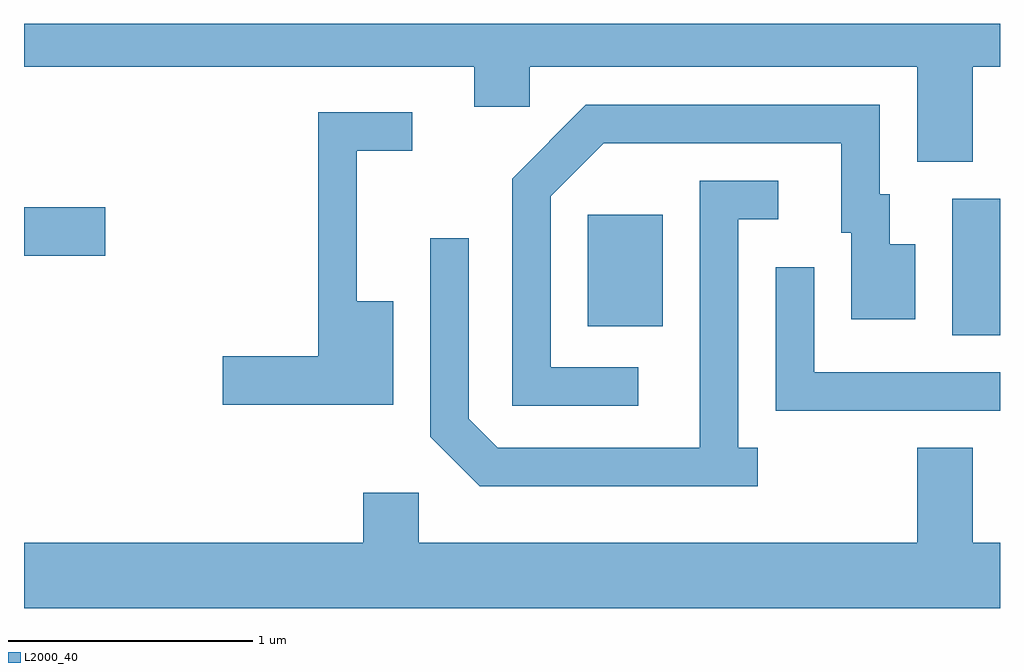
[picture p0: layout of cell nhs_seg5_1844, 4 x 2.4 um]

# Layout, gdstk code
import gdstk
lib = gdstk.Library(unit=1e-6, precision=1e-09)
def R(c, l, rs):  # rectangles x0, y0, x1, y1
    for r in rs: c.add(gdstk.rectangle(r[:2], r[2:], *l))
def P(c, l, *ps):  # polygons
    for p in ps: c.add(gdstk.Polygon(p, *l))
L2000_40 = (2000, 40)

nhs_seg5_1844 = lib.new_cell('nhs_seg5_1844')
R(nhs_seg5_1844, L2000_40, [(243.416,1466.796,243.611,1467.354), (241.921,1466.831,242.229,1467.289), (239.611,1467.121,239.944,1467.319)])
P(nhs_seg5_1844, L2000_40, [(243.499,1467.896),(243.611,1467.896),(243.611,1468.072),(239.611,1468.072),(239.611,1467.896),(241.456,1467.896),(241.456,1467.731),(241.684,1467.731),(241.684,1467.896),(243.271,1467.896),(243.271,1467.506),(243.499,1467.506)],
  [(242.128,1466.664),(241.769,1466.664),(241.769,1467.364),(241.987,1467.581),(242.961,1467.581),(242.961,1467.216),(243.001,1467.216),(243.001,1466.861),(243.264,1466.861),(243.264,1467.169),(243.159,1467.169),(243.159,1467.374),(243.119,1467.374),(243.119,1467.739),(241.914,1467.739),(241.611,1467.437),(241.611,1466.506),(242.128,1466.506)],
  [(241.124,1466.934),(240.974,1466.934),(240.974,1467.551),(241.203,1467.551),(241.203,1467.709),(240.816,1467.709),(240.816,1466.709),(240.426,1466.709),(240.426,1466.511),(241.124,1466.511)],
  [(242.618,1466.334),(242.539,1466.334),(242.539,1467.271),(242.703,1467.271),(242.703,1467.429),(242.381,1467.429),(242.381,1466.334),(241.552,1466.334),(241.434,1466.452),(241.434,1467.193),(241.276,1467.193),(241.276,1466.379),(241.479,1466.176),(242.618,1466.176)],
  [(243.611,1466.644),(242.849,1466.644),(242.849,1467.073),(242.691,1467.073),(242.691,1466.486),(243.611,1466.486)],
  [(243.611,1465.944),(243.499,1465.944),(243.499,1466.334),(243.271,1466.334),(243.271,1465.944),(241.229,1465.944),(241.229,1466.149),(241.001,1466.149),(241.001,1465.944),(239.611,1465.944),(239.611,1465.676),(243.611,1465.676)])

lib.write_gds('nhs_seg5_1844.gds')
